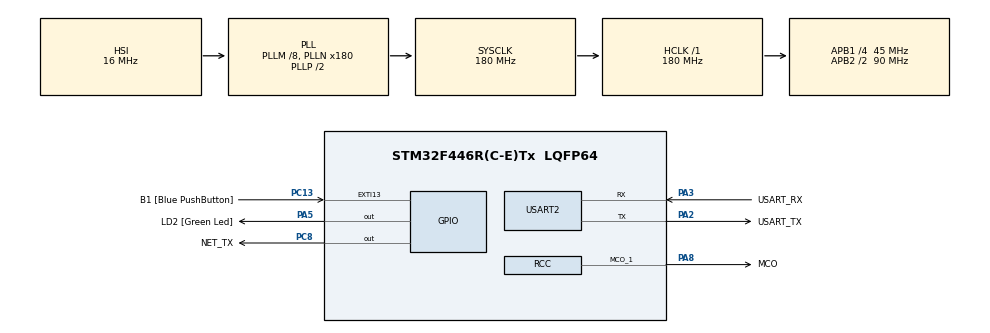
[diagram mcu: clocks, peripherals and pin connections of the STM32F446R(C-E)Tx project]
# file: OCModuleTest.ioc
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Mcu.Family=STM32F4
Mcu.Name=STM32F446R(C-E)Tx
Mcu.Package=LQFP64
NVIC.PriorityGroup=NVIC_PRIORITYGROUP_0
NVIC.TIM3_IRQn=true\:0\:0\:false\:false\:true\:true\:true\:true
PA13.GPIO_Label=TMS
PA13.Mode=Serial_Wire
PA13.Signal=SYS_JTMS-SWDIO
PA14.GPIO_Label=TCK
PA14.Mode=Serial_Wire
PA14.Signal=SYS_JTCK-SWCLK
PA2.GPIO_Label=USART_TX
PA2.Mode=Asynchronous
PA2.Signal=USART2_TX
PA3.GPIO_Label=USART_RX
PA3.Mode=Asynchronous
PA3.Signal=USART2_RX
PA5.GPIO_Label=LD2 [Green Led]
PA5.Signal=GPIO_Output
PA8.GPIO_Label=MCO
PA8.GPIO_Speed=GPIO_SPEED_FREQ_VERY_HIGH
PA8.Mode=Clock-out-1
PA8.Signal=RCC_MCO_1
PB3.GPIO_Label=SWO
PB3.Signal=SYS_JTDO-SWO
PC13.GPIO_Label=B1 [Blue PushButton]
PC13.GPIO_ModeDefaultEXTI=GPIO_MODE_IT_FALLING
PC13.Signal=GPXTI13
PC14-OSC32_IN.Mode=LSE-External-Oscillator
PC14-OSC32_IN.Signal=RCC_OSC32_IN
PC15-OSC32_OUT.Mode=LSE-External-Oscillator
PC15-OSC32_OUT.Signal=RCC_OSC32_OUT
PC8.GPIO_Label=NET_TX
PC8.Signal=GPIO_Output
PH0-OSC_IN.Signal=RCC_OSC_IN
PH1-OSC_OUT.Signal=RCC_OSC_OUT
ProjectManager.HeapSize=0x200
ProjectManager.StackSize=0x400
ProjectManager.TargetToolchain=STM32CubeIDE
RCC.48MHZClocksFreq_Value=84000000
RCC.AHBFreq_Value=180000000
RCC.APB1CLKDivider=RCC_HCLK_DIV4
RCC.APB1Freq_Value=45000000
RCC.APB1TimFreq_Value=90000000
RCC.APB2CLKDivider=RCC_HCLK_DIV2
RCC.APB2Freq_Value=90000000
RCC.APB2TimFreq_Value=180000000
RCC.CortexFreq_Value=180000000
RCC.FLatency-AdvancedSettings=FLASH_LATENCY_5
RCC.HCLKFreq_Value=180000000
RCC.HSE_VALUE=8000000
RCC.HSI_VALUE=16000000
RCC.PLLM=8
RCC.PLLN=180
RCC.RCC_MCODiv1=RCC_MCODIV_2
RCC.SYSCLKFreq_VALUE=180000000
RCC.SYSCLKSource=RCC_SYSCLKSOURCE_PLLCLK
RCC.USBFreq_Value=180000000
RCC.VCOOutputFreq_Value=360000000
TIM3.Channel-Output\ Compare3\ No\ Output=TIM_CHANNEL_3
TIM3.Prescaler=1800
USART2.VirtualMode=VM_ASYNC
VP_TIM3_VS_ClockSourceINT.Mode=Internal
VP_TIM3_VS_no_output3.Mode=Output Compare3 No Output
board=NUCLEO-F446RE

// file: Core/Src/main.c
/* USER CODE BEGIN Header */
/**
 ******************************************************************************
 * @file           : main.c
 * @brief          : Main program body
 ******************************************************************************
 * @attention
 *
 * <h2><center>&copy; Copyright (c) 2021 STMicroelectronics.
 * All rights reserved.</center></h2>
 *
 * This software component is licensed by ST under BSD 3-Clause license,
 * the "License"; You may not use this file except in compliance with the
 * License. You may obtain a copy of the License at:
 *                        opensource.org/licenses/BSD-3-Clause
 *
 ******************************************************************************
 */
/* USER CODE END Header */
#include "main.h"
#include "tim.h"
#include "usart.h"
#include "gpio.h"

/* USER CODE BEGIN Includes */
#include "stdbool.h"
/* USER CODE END Includes */

/* USER CODE BEGIN PD */
#define OC_BUFFER_LEN       (12)
#define OC_IDLE             (0)
#define OC_RUN              (1)
#define OC_DONE             (2)

#define APP_STATE_INIT      (0)
#define APP_STATE_TASKS     (1)

#define PULSE_TIME          (100)
#define LO_TIME             (200)
#define HI_TIME             (400)
#define START_TIME          (1000)

/* USER CODE END PD */

/* USER CODE BEGIN PV */
static uint32_t txBuffer[OC_BUFFER_LEN];
static volatile uint32_t txLength = 0;

static volatile uint8_t ocState = OC_IDLE;
static uint32_t appState = APP_STATE_INIT;
static bool btnPrevState = false;

/* USER CODE END PV */

void SystemClock_Config(void);

int main(void)
{

  /* MCU Configuration--------------------------------------------------------*/

  /* Reset of all peripherals, Initializes the Flash interface and the Systick. */
  HAL_Init();

  /* Configure the system clock */
  SystemClock_Config();

  /* Initialize all configured peripherals */
  MX_GPIO_Init();
  MX_USART2_UART_Init();
  MX_TIM3_Init();

  /* Infinite loop */
  /* USER CODE BEGIN WHILE */
    while (1)
    {
        switch (appState)
        {
            case APP_STATE_INIT:
            {
                if (HAL_TIM_Base_Start(&htim3) == HAL_OK)
                {
                    btnPrevState = HAL_GPIO_ReadPin( B1_GPIO_Port, B1_Pin);
                    ocState = OC_IDLE;
                    HAL_TIM_OC_Start_IT(&htim3, TIM_CHANNEL_3);
                    appState = APP_STATE_TASKS;
                }
                break;
            }

            case APP_STATE_TASKS:
            {
                switch (ocState)
                {
                    case OC_IDLE:
                    {
                        bool btn = HAL_GPIO_ReadPin( B1_GPIO_Port, B1_Pin);
                        if (btn != btnPrevState)
                        {
                            HAL_Delay(100);
                            if (!btn)
                            {
                                if (!HAL_GPIO_ReadPin( B1_GPIO_Port, B1_Pin))
                                {
                                    txBuffer[0] = 0xAA;
                                    txBuffer[1] = 0x55;
                                    txLength = 12;
                                    htim3.Instance->CCR3 = htim3.Instance->CNT + 100;
                                    ocState = OC_RUN;
                                }
                            }
                            btnPrevState = btn;
                        }
                        break;
                    }

                    case OC_RUN:
                    {
                        break;
                    }

                    case OC_DONE:
                    {
                        ocState = OC_IDLE;
                        break;
                    }

                    default:
                    {
                        break;
                    }
                }
            }

            default:
            {
                break;
            }
        }

    /* USER CODE END WHILE */

    }
}

void SystemClock_Config(void)
{
  RCC_OscInitTypeDef RCC_OscInitStruct = {0};
  RCC_ClkInitTypeDef RCC_ClkInitStruct = {0};

  /** Configure the main internal regulator output voltage
  */
  __HAL_RCC_PWR_CLK_ENABLE();
  __HAL_PWR_VOLTAGESCALING_CONFIG(PWR_REGULATOR_VOLTAGE_SCALE1);

  /** Initializes the RCC Oscillators according to the specified parameters
  * in the RCC_OscInitTypeDef structure.
  */
  RCC_OscInitStruct.OscillatorType = RCC_OSCILLATORTYPE_HSI;
  RCC_OscInitStruct.HSIState = RCC_HSI_ON;
  RCC_OscInitStruct.HSICalibrationValue = RCC_HSICALIBRATION_DEFAULT;
  RCC_OscInitStruct.PLL.PLLState = RCC_PLL_ON;
  RCC_OscInitStruct.PLL.PLLSource = RCC_PLLSOURCE_HSI;
  RCC_OscInitStruct.PLL.PLLM = 8;
  RCC_OscInitStruct.PLL.PLLN = 180;
  RCC_OscInitStruct.PLL.PLLP = RCC_PLLP_DIV2;
  RCC_OscInitStruct.PLL.PLLQ = 2;
  RCC_OscInitStruct.PLL.PLLR = 2;
  if (HAL_RCC_OscConfig(&RCC_OscInitStruct) != HAL_OK)
  {
    Error_Handler();
  }

  /** Activate the Over-Drive mode
  */
  if (HAL_PWREx_EnableOverDrive() != HAL_OK)
  {
    Error_Handler();
  }

  /** Initializes the CPU, AHB and APB buses clocks
  */
  RCC_ClkInitStruct.ClockType = RCC_CLOCKTYPE_HCLK|RCC_CLOCKTYPE_SYSCLK
                              |RCC_CLOCKTYPE_PCLK1|RCC_CLOCKTYPE_PCLK2;
  RCC_ClkInitStruct.SYSCLKSource = RCC_SYSCLKSOURCE_PLLCLK;
  RCC_ClkInitStruct.AHBCLKDivider = RCC_SYSCLK_DIV1;
  RCC_ClkInitStruct.APB1CLKDivider = RCC_HCLK_DIV4;
  RCC_ClkInitStruct.APB2CLKDivider = RCC_HCLK_DIV2;

  if (HAL_RCC_ClockConfig(&RCC_ClkInitStruct, FLASH_LATENCY_5) != HAL_OK)
  {
    Error_Handler();
  }
  HAL_RCC_MCOConfig(RCC_MCO1, RCC_MCO1SOURCE_HSI, RCC_MCODIV_2);
}

/* USER CODE BEGIN 4 */
void HAL_TIM_OC_DelayElapsedCallback(TIM_HandleTypeDef *htim)
{
    if (htim == &htim3)
    {
        if (ocState == OC_RUN)
        {
            static uint8_t step = 0;
            static uint32_t bitCounter = 0;
            uint16_t period = 0;
            uint16_t timer = htim->Instance->CNT;
            uint8_t bytePos = 0;
            uint8_t bitPos = 0;
            bool pinState = false;

            switch (step)
            {
                case 0:
                    period = PULSE_TIME;
                    pinState = true;
                    bitCounter = 0;
                    step++;
                    break;

                case 1:
                    period = START_TIME;
                    pinState = false;
                    step++;
                    break;

                case 2:
                    period = PULSE_TIME;
                    pinState = true;
                    step += bitCounter == txLength ? 2 : 1;
                    break;

                case 3:
                    bytePos = bitCounter >> 3;
                    bitPos = bitCounter & 0x07;

                    period = (1 << bitPos) & (txBuffer[bytePos]) ? HI_TIME : LO_TIME;
                    pinState = false;
                    bitCounter++;
                    step = 2;
                    break;
                case 4:
                    period = START_TIME;
                    pinState = false;
                    step++;
                    break;

                default:
                    ocState = OC_DONE;
                    break;

            }

            if (ocState == OC_DONE)
            {
                pinState = GPIO_PIN_RESET;
                step = 0;
            }
            else
            {
                htim->Instance->CCR3 = timer + period;
            }
            HAL_GPIO_WritePin(NET_TX_GPIO_Port, NET_TX_Pin, pinState ? GPIO_PIN_SET : GPIO_PIN_RESET);
        }
    }
}
/* USER CODE END 4 */

void Error_Handler(void)
{
    __disable_irq();
    while (1)
    {
    }
}
